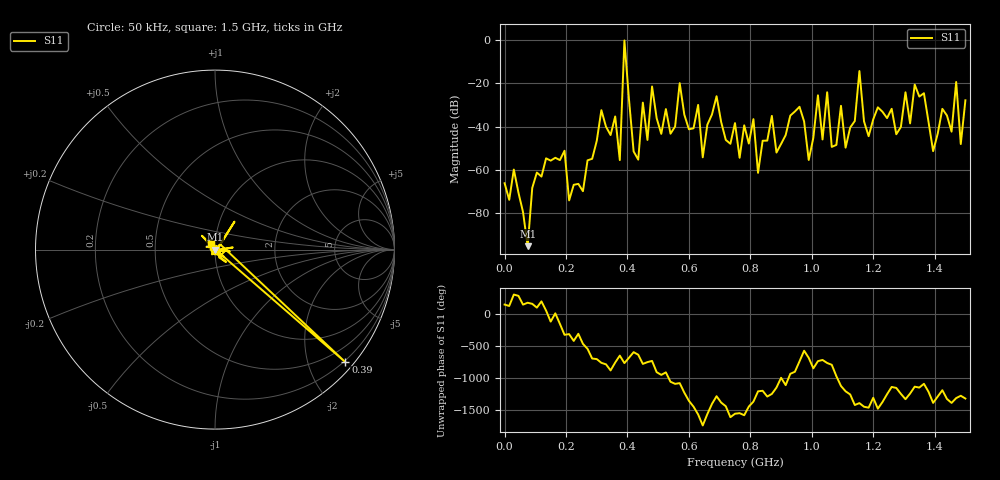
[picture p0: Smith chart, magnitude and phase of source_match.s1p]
! Created with skrf 1.8.0 (http://scikit-rf.org).
# Hz S RI R 50.0
!freq ReS11 ImS11
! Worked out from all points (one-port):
!   101 points, 50 kHz to 1.5 GHz, reference 50 ohm
!   lowest |S11| = -95.1 dB at 75.05 MHz (marker M1), VSWR 1.00, Z = 50 - j3.75e-05 ohm
!   |S11| at or under -10 dB: start of sweep to 387.4 MHz; 395.3 MHz to end of sweep
!   S11 on the Smith chart (normalised r, x): 50 kHz: 1.00, +0.00; 390 MHz: 0.17, -2.68; 1.5 GHz: 0.95, +0.06
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50000  -0.000437 0.000231
7.50475e7  -1.75e-05 -3.75e-07
1.950435e8  0.00209 0.00182
2.10043e8  0.000124 0.000155
3.150395e8  0.0191 -0.0142
3.750375e8  0.000396 0.00164
3.90037e8  0.727 -0.6276
4.350355e8  -8.92e-07 0.00173
4.50035e8  0.0213 -0.0284
5.40032e8  0.00604 0.0032
5.70031e8  0.0992 0.012
6.450285e8  0.000778 0.00179
6.90027e8  -0.0476 0.0149
7.50025e8  -0.00423 -0.0113
8.10023e8  0.00299 0.0145
8.250225e8  -0.000443 -0.000734
9.450185e8  -0.0221 -0.00166
9.90017e8  0.00127 0.00112
1.020016e9  0.0516 -0.00926
1.125012e9  -0.00935 -0.00159
1.155012e9  0.1087 0.1557
1.18501e9  0.00575 -0.00167
1.320006e9  -0.0107 -0.00492
1.365004e9  0.0584 -0.00363
1.395004e9  0.00141 0.00231
1.470001e9  -0.073 0.0772
1.485e9  -0.00389 0.000688
1.5e9  -0.024 0.0323
